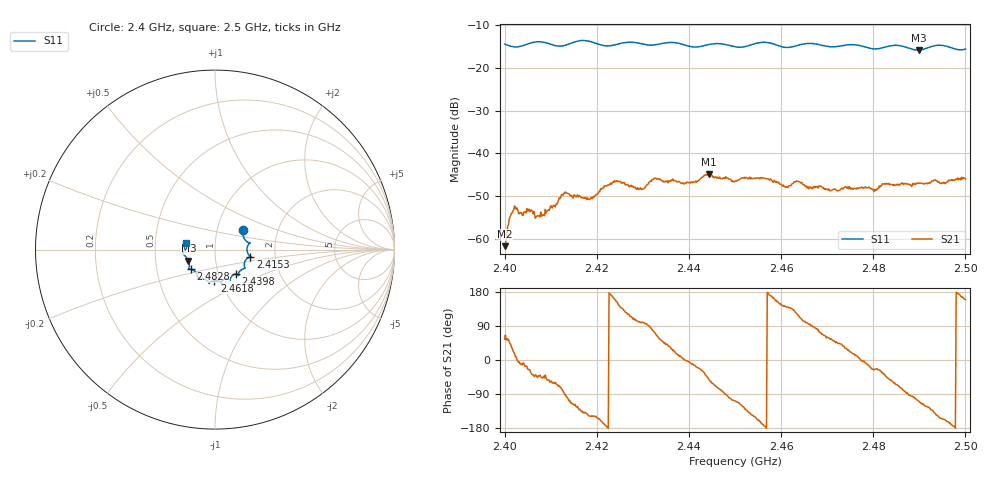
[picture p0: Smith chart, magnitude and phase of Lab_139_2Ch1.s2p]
# Hz S RI R 50
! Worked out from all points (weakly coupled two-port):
!   601 points, 2.4 GHz to 2.5 GHz, reference 50 ohm
!   highest |S21| = -44.78 dB at 2.4443 GHz (marker M1); lowest = -61.6 dB at 2.4 GHz (marker M2)
!   lowest |S11| = -15.9 dB at 2.4898 GHz (marker M3), VSWR 1.38, Z = 36.9 - j4.63 ohm
!   |S11| at or under -10 dB: start of sweep to end of sweep
!   S12 and S22 are empty: the file has one direction only
!   S11 on the Smith chart (normalised r, x): 2.4 GHz: 1.33, +0.29; 2.4153 GHz: 1.48, -0.12; 2.4398 GHz: 1.21, -0.34; 2.4618 GHz: 0.94, -0.33; 2.4828 GHz: 0.74, -0.17; 2.5 GHz: 0.72, +0.06
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2.4e9  0.1554 0.1066  0.000478 0.000679  0 0  0 0
2.401167e9  0.1551 0.0883  0.00133 0.00124  0 0  0 0
2.402167e9  0.1586 0.0715  0.00235 0.000684  0 0  0 0
2.407167e9  0.1967 0.0374  0.0013 -0.00137  0 0  0 0
2.412833e9  0.18 -0.0122  0.000258 -0.00342  0 0  0 0
2.415333e9  0.1963 -0.0388  -0.00144 -0.00282  0 0  0 0
2.416667e9  0.2024 -0.0428  -0.0022 -0.00211  0 0  0 0
2.418833e9  0.1953 -0.0419  -0.00262 -0.00156  0 0  0 0
2.424e9  0.1626 -0.0873  -0.00435 0.00172  0 0  0 0
2.429667e9  0.1566 -0.1078  -0.00054 0.00375  0 0  0 0
2.433333e9  0.1309 -0.1337  0.00251 0.00439  0 0  0 0
2.439833e9  0.1155 -0.136  0.00455 -0.000314  0 0  0 0
2.444333e9  0.085 -0.1653  0.00359 -0.00451  0 0  0 0
2.45e9  0.0653 -0.1624  -0.00145 -0.00452  0 0  0 0
2.456e9  0.0382 -0.1934  -0.0051 -0.000895  0 0  0 0
2.461833e9  -0.00291 -0.1725  -0.00314 0.00282  0 0  0 0
2.466667e9  -0.0342 -0.188  -7.53e-05 0.00403  0 0  0 0
2.480333e9  -0.1125 -0.1206  0.00344 -0.00158  0 0  0 0
2.482833e9  -0.1365 -0.1091  0.0032 -0.00313  0 0  0 0
2.483333e9  -0.1403 -0.1089  0.00291 -0.00341  0 0  0 0
2.489833e9  -0.1481 -0.0612  -0.00144 -0.00429  0 0  0 0
2.5e9  -0.1593 0.039  -0.00473 0.00178  0 0  0 0
